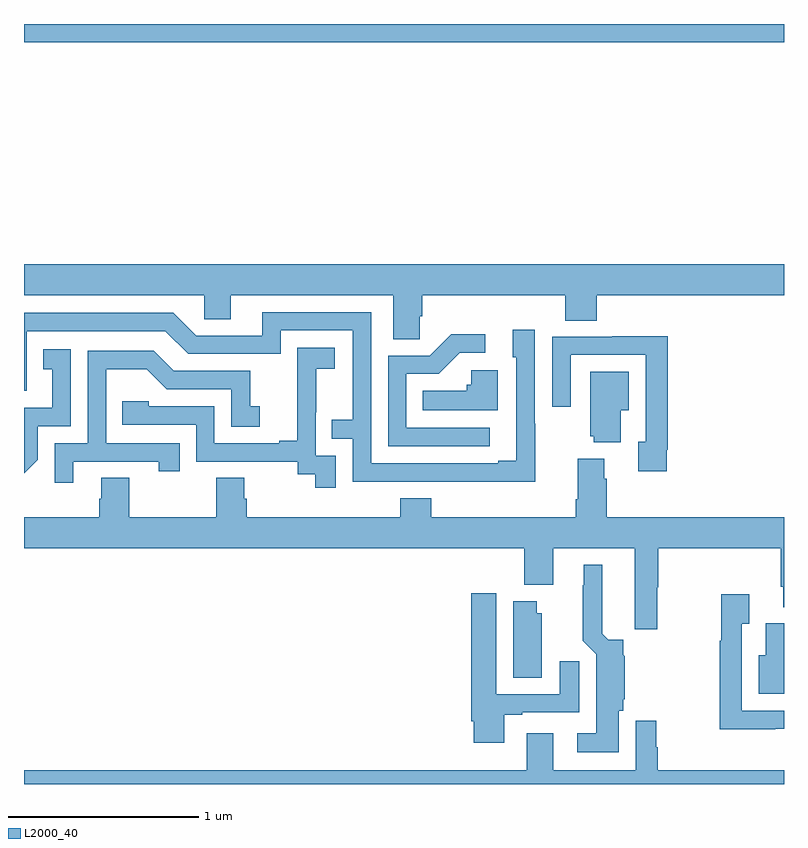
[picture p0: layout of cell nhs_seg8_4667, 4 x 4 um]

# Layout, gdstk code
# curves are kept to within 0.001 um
import gdstk
lib = gdstk.Library(unit=1e-6, precision=1e-09)
def R(c, l, rs):  # rectangles x0, y0, x1, y1
    for r in rs: c.add(gdstk.rectangle(r[:2], r[2:], *l))
def P(c, l, *ps):  # polygons
    for p in ps: c.add(gdstk.Polygon(p, *l))
L2000_40 = (2000, 40)

nhs_seg8_4667 = lib.new_cell('nhs_seg8_4667')
R(nhs_seg8_4667, L2000_40, [(393,1145.804,397,1145.9)])
P(nhs_seg8_4667, L2000_40, [(393,1144.472),(393.948,1144.472),(393.948,1144.345),(394.087,1144.345),(394.087,1144.472),(394.943,1144.472),(394.943,1144.24),(395.082,1144.24),(395.082,1144.363),(395.096,1144.363),(395.096,1144.472),(395.849,1144.472),(395.849,1144.339),(396.014,1144.339),(396.014,1144.472),(397,1144.472),(397,1144.636),(393,1144.636)],
  [(395.691,1143.797),(395.688,1143.797),(395.688,1144.291),(395.573,1144.291),(395.573,1144.146),(395.592,1144.146),(395.592,1143.601),(395.495,1143.601),(395.495,1143.588),(394.827,1143.588),(394.827,1144.383),(394.253,1144.383),(394.253,1144.26),(393.906,1144.26),(393.786,1144.38),(393,1144.38),(393,1143.969),(393.015,1143.969),(393.015,1144.284),(393.744,1144.284),(393.864,1144.164),(394.35,1144.164),(394.35,1144.287),(394.731,1144.287),(394.731,1143.818),(394.621,1143.818),(394.621,1143.717),(394.731,1143.717),(394.731,1143.492),(395.691,1143.491)],
  [(395.452,1143.774),(395.013,1143.774),(395.013,1144.059),(395.182,1144.059),(395.293,1144.17),(395.428,1144.17),(395.428,1144.268),(395.249,1144.268),(395.136,1144.155),(394.917,1144.155),(394.917,1143.678),(395.452,1143.678)],
  [(396.382,1143.658),(396.389,1143.658),(396.389,1144.256),(396.097,1144.256),(396.097,1144.254),(395.781,1144.254),(395.781,1143.885),(395.877,1143.885),(395.877,1144.158),(396.273,1144.158),(396.273,1143.702),(396.233,1143.702),(396.233,1143.546),(396.382,1143.546)],
  [(394.641,1143.627),(394.536,1143.627),(394.536,1143.857),(394.538,1143.857),(394.538,1144.085),(394.636,1144.085),(394.636,1144.195),(394.438,1144.195),(394.438,1143.989),(394.439,1143.989),(394.439,1143.706),(394.343,1143.706),(394.343,1143.693),(394.002,1143.693),(394.002,1143.888),(393.657,1143.888),(393.657,1143.915),(393.517,1143.915),(393.517,1143.792),(393.906,1143.792),(393.906,1143.597),(394.44,1143.597),(394.44,1143.529),(394.533,1143.529),(394.533,1143.459),(394.641,1143.459)],
  [(393.072,1143.606),(393.072,1143.783),(393.246,1143.783),(393.246,1144.189),(393.1,1144.189),(393.1,1144.083),(393.149,1144.083),(393.149,1143.879),(393,1143.879),(393,1143.535)],
  [(393.259,1143.597),(393.71,1143.597),(393.71,1143.546),(393.821,1143.546),(393.821,1143.693),(393.432,1143.693),(393.432,1144.082),(393.646,1144.082),(393.75,1143.978),(394.092,1143.978),(394.092,1143.78),(394.24,1143.78),(394.24,1143.889),(394.191,1143.889),(394.191,1144.074),(393.787,1144.074),(393.682,1144.179),(393.336,1144.179),(393.336,1143.693),(393.162,1143.693),(393.162,1143.486),(393.259,1143.486)],
  [(395.494,1144.078),(395.355,1144.078),(395.355,1144.002),(395.329,1144.002),(395.329,1143.97),(395.098,1143.97),(395.098,1143.866),(395.494,1143.866)],
  [(396.142,1143.866),(396.184,1143.866),(396.184,1144.069),(395.981,1144.069),(395.981,1143.729),(395.999,1143.729),(395.999,1143.698),(396.142,1143.698)],
  [(396.055,1143.506),(396.055,1143.613),(395.915,1143.613),(395.915,1143.4),(395.903,1143.4),(395.903,1143.304),(395.144,1143.304),(395.144,1143.403),(394.979,1143.403),(394.979,1143.304),(394.172,1143.304),(394.172,1143.402),(394.159,1143.402),(394.159,1143.512),(394.012,1143.512),(394.012,1143.304),(393.555,1143.304),(393.555,1143.512),(393.407,1143.512),(393.407,1143.402),(393.395,1143.402),(393.395,1143.304),(393,1143.304),(393,1143.14),(395.633,1143.14),(395.633,1142.948),(395.785,1142.948),(395.785,1143.14),(396.215,1143.14),(396.215,1142.715),(396.333,1142.715),(396.333,1142.936),(396.338,1142.936),(396.338,1143.14),(396.983,1143.14),(396.983,1142.938),(396.995,1142.938),(396.995,1142.831),(397,1142.831),(397,1143.304),(396.068,1143.304),(396.068,1143.506)],
  [(396.13,1142.286),(396.155,1142.286),(396.155,1142.346),(396.161,1142.346),(396.161,1142.573),(396.155,1142.579),(396.155,1142.658),(396.076,1142.658),(396.043,1142.692),(396.043,1143.055),(395.945,1143.055),(395.945,1142.945),(395.941,1142.945),(395.941,1142.654),(396.011,1142.584),(396.011,1142.167),(395.913,1142.167),(395.913,1142.066),(396.13,1142.066)],
  [(395.527,1142.265),(395.623,1142.265),(395.623,1142.277),(395.923,1142.277),(395.923,1142.545),(395.819,1142.545),(395.819,1142.373),(395.485,1142.373),(395.485,1142.905),(395.354,1142.905),(395.354,1142.23),(395.366,1142.23),(395.366,1142.118),(395.527,1142.118)],
  [(396.953,1142.19),(397,1142.19),(397,1142.286),(396.777,1142.286),(396.777,1142.743),(396.817,1142.743),(396.817,1142.899),(396.669,1142.899),(396.669,1142.654),(396.661,1142.654),(396.661,1142.189),(396.953,1142.189)],
  [(395.725,1142.799),(395.698,1142.799),(395.698,1142.863),(395.576,1142.863),(395.576,1142.458),(395.725,1142.458)],
  [(397,1142.746),(396.905,1142.746),(396.905,1142.578),(396.866,1142.578),(396.866,1142.375),(397,1142.375)],
  [(397,1141.972),(396.335,1141.972),(396.335,1142.094),(396.328,1142.094),(396.328,1142.233),(396.219,1142.233),(396.219,1141.972),(395.785,1141.972),(395.785,1142.167),(395.645,1142.167),(395.645,1141.972),(393,1141.972),(393,1141.9),(397,1141.9)])

lib.write_gds('nhs_seg8_4667.gds')
